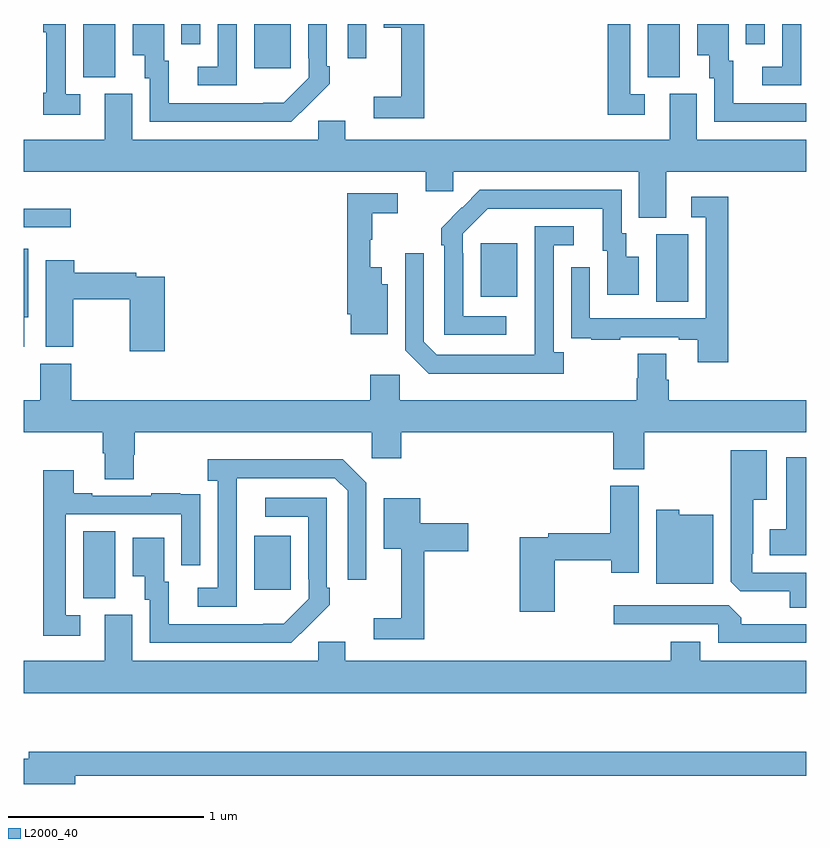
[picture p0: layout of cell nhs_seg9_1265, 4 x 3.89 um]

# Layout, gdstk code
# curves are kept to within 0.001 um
import gdstk
lib = gdstk.Library(unit=1e-6, precision=1e-09)
def R(c, l, rs):  # rectangles x0, y0, x1, y1
    for r in rs: c.add(gdstk.rectangle(r[:2], r[2:], *l))
def P(c, l, *ps):  # polygons
    for p in ps: c.add(gdstk.Polygon(p, *l))
L2000_40 = (2000, 40)

nhs_seg9_1265 = lib.new_cell('nhs_seg9_1265')
R(nhs_seg9_1265, L2000_40, [(181.304,1203.565,181.468,1203.908), (182.177,1203.609,182.365,1203.883), (184.232,1205.08,184.396,1205.424), (183.335,1205.105,183.523,1205.38), (181,1205.46,181.24,1205.556), (181.304,1206.229,181.468,1206.5), (184.19,1206.229,184.354,1206.5), (182.177,1206.273,182.365,1206.5), (182.655,1206.324,182.751,1206.5), (181.806,1206.396,181.902,1206.5), (184.692,1206.396,184.788,1206.5)])
P(nhs_seg9_1265, L2000_40, [(185,1206.096),(184.627,1206.096),(184.627,1206.312),(184.603,1206.312),(184.603,1206.5),(184.442,1206.5),(184.442,1206.341),(184.505,1206.341),(184.505,1206.222),(184.53,1206.222),(184.53,1206),(185,1206)],
  [(181.288,1206.141),(181.215,1206.141),(181.215,1206.5),(181.099,1206.5),(181.099,1206.459),(181.114,1206.459),(181.114,1206.148),(181.099,1206.148),(181.099,1206.036),(181.288,1206.036)],
  [(183.047,1206.5),(182.84,1206.5),(182.84,1206.482),(182.93,1206.482),(182.93,1206.127),(182.79,1206.127),(182.79,1206.018),(183.047,1206.018)],
  [(184.974,1206.5),(184.878,1206.5),(184.878,1206.282),(184.776,1206.282),(184.776,1206.186),(184.974,1206.186)],
  [(182.459,1206.091),(182.46,1206.09),(182.565,1206.195),(182.565,1206.283),(182.55,1206.283),(182.55,1206.5),(182.454,1206.5),(182.454,1206.325),(182.457,1206.325),(182.457,1206.225),(182.329,1206.097),(182.225,1206.096),(181.741,1206.096),(181.741,1206.312),(181.717,1206.312),(181.717,1206.5),(181.556,1206.5),(181.556,1206.341),(181.619,1206.341),(181.619,1206.222),(181.644,1206.222),(181.644,1206),(182.368,1206)],
  [(182.088,1206.5),(181.992,1206.5),(181.992,1206.282),(181.89,1206.282),(181.89,1206.186),(182.088,1206.186)],
  [(184.174,1206.141),(184.101,1206.141),(184.101,1206.5),(183.985,1206.5),(183.985,1206.036),(184.174,1206.036)],
  [(184.285,1205.744),(185,1205.744),(185,1205.908),(184.441,1205.908),(184.441,1206.144),(184.301,1206.144),(184.301,1205.908),(182.644,1205.908),(182.644,1206.006),(182.505,1206.006),(182.505,1205.908),(181.555,1205.908),(181.555,1206.144),(181.415,1206.144),(181.415,1205.908),(181,1205.908),(181,1205.744),(183.056,1205.744),(183.056,1205.646),(183.195,1205.646),(183.195,1205.744),(184.145,1205.744),(184.145,1205.509),(184.285,1205.509)],
  [(183.466,1205.007),(183.246,1205.007),(183.246,1205.327),(183.243,1205.327),(183.243,1205.427),(183.372,1205.556),(183.959,1205.556),(183.959,1205.34),(183.983,1205.34),(183.983,1205.115),(184.144,1205.115),(184.144,1205.311),(184.081,1205.311),(184.081,1205.43),(184.056,1205.43),(184.056,1205.652),(183.332,1205.652),(183.135,1205.457),(183.135,1205.369),(183.15,1205.369),(183.15,1204.911),(183.466,1204.911)],
  [(182.86,1205.17),(182.83,1205.17),(182.83,1205.257),(182.771,1205.257),(182.771,1205.397),(182.782,1205.397),(182.782,1205.533),(182.911,1205.533),(182.911,1205.634),(182.653,1205.634),(182.653,1205.017),(182.672,1205.017),(182.672,1204.913),(182.86,1204.913)],
  [(184.601,1205.617),(184.413,1205.617),(184.413,1205.511),(184.485,1205.511),(184.485,1204.995),(183.894,1204.995),(183.894,1205.257),(183.798,1205.257),(183.798,1205.002),(183.799,1205.002),(183.799,1204.893),(183.901,1204.893),(183.901,1204.887),(184.049,1204.887),(184.049,1204.899),(184.349,1204.899),(184.349,1204.887),(184.445,1204.887),(184.445,1204.77),(184.601,1204.77)],
  [(183.76,1204.822),(183.708,1204.822),(183.708,1205.37),(183.811,1205.37),(183.811,1205.466),(183.612,1205.466),(183.611,1204.809),(183.111,1204.809),(183.045,1204.875),(183.045,1205.329),(182.949,1205.329),(182.949,1204.833),(183.07,1204.712),(183.76,1204.712)],
  [(181.003,1205.001),(181.024,1205.001),(181.024,1205.35),(181,1205.35),(181,1204.851),(181.003,1204.851)],
  [(181.721,1205.208),(181.574,1205.208),(181.574,1205.228),(181.259,1205.228),(181.259,1205.293),(181.112,1205.293),(181.112,1204.849),(181.254,1204.849),(181.254,1205.092),(181.543,1205.092),(181.543,1204.827),(181.721,1204.827)],
  [(181.563,1204.299),(181.568,1204.299),(181.568,1204.412),(182.778,1204.412),(182.778,1204.281),(182.93,1204.281),(182.93,1204.412),(184.013,1204.412),(184.013,1204.225),(184.173,1204.225),(184.173,1204.412),(185,1204.412),(185,1204.576),(184.298,1204.576),(184.298,1204.682),(184.285,1204.682),(184.285,1204.814),(184.138,1204.814),(184.138,1204.689),(184.133,1204.689),(184.133,1204.576),(182.922,1204.576),(182.922,1204.708),(182.771,1204.708),(182.771,1204.576),(181.244,1204.576),(181.244,1204.764),(181.084,1204.764),(181.084,1204.576),(181,1204.576),(181,1204.412),(181.403,1204.412),(181.403,1204.306),(181.415,1204.306),(181.415,1204.174),(181.563,1204.174)],
  [(185,1203.696),(184.725,1203.696),(184.725,1203.793),(184.729,1203.793),(184.729,1204.067),(184.798,1204.067),(184.798,1204.321),(184.613,1204.321),(184.613,1203.649),(184.662,1203.6),(184.916,1203.6),(184.916,1203.517),(185,1203.517)],
  [(185,1204.285),(184.898,1204.285),(184.898,1203.916),(184.814,1203.916),(184.814,1203.785),(185,1203.785)],
  [(182.088,1203.979),(182.089,1204.179),(182.589,1204.179),(182.655,1204.113),(182.655,1203.66),(182.751,1203.66),(182.751,1204.155),(182.63,1204.276),(181.941,1204.276),(181.941,1204.166),(181.992,1204.166),(181.992,1203.618),(181.89,1203.618),(181.89,1203.522),(182.088,1203.522)],
  [(181.288,1203.477),(181.215,1203.477),(181.215,1203.993),(181.806,1203.993),(181.806,1203.732),(181.902,1203.732),(181.902,1203.986),(181.901,1203.986),(181.901,1204.095),(181.799,1204.095),(181.799,1204.102),(181.651,1204.102),(181.651,1204.089),(181.351,1204.089),(181.351,1204.102),(181.255,1204.102),(181.255,1204.219),(181.099,1204.219),(181.099,1203.372),(181.288,1203.372)],
  [(183.714,1203.76),(184.003,1203.76),(184.003,1203.696),(184.144,1203.696),(184.144,1204.14),(183.998,1204.14),(183.998,1203.896),(183.682,1203.896),(183.682,1203.876),(183.536,1203.876),(183.536,1203.495),(183.714,1203.495)],
  [(182.459,1203.427),(182.46,1203.426),(182.565,1203.531),(182.565,1203.619),(182.55,1203.619),(182.55,1204.077),(182.235,1204.077),(182.235,1203.981),(182.454,1203.981),(182.454,1203.661),(182.457,1203.661),(182.457,1203.561),(182.329,1203.433),(181.741,1203.432),(181.741,1203.648),(181.717,1203.648),(181.717,1203.874),(181.556,1203.874),(181.556,1203.677),(181.619,1203.677),(181.619,1203.558),(181.644,1203.558),(181.644,1203.336),(182.368,1203.336)],
  [(183.047,1203.806),(183.271,1203.806),(183.271,1203.948),(183.028,1203.948),(183.028,1204.075),(182.84,1204.075),(182.84,1203.818),(182.93,1203.818),(182.93,1203.463),(182.79,1203.463),(182.79,1203.354),(183.047,1203.354)],
  [(184.525,1203.991),(184.35,1203.991),(184.35,1204.018),(184.232,1204.018),(184.232,1203.638),(184.525,1203.638)],
  [(185,1203.432),(184.667,1203.432),(184.667,1203.466),(184.605,1203.528),(184.017,1203.528),(184.017,1203.432),(184.551,1203.432),(184.551,1203.336),(185,1203.336)],
  [(185,1203.244),(184.459,1203.244),(184.459,1203.343),(184.307,1203.343),(184.307,1203.244),(182.644,1203.244),(182.644,1203.342),(182.505,1203.342),(182.505,1203.244),(181.555,1203.244),(181.555,1203.48),(181.415,1203.48),(181.415,1203.244),(181,1203.244),(181,1203.08),(185,1203.08)],
  [(181.264,1202.658),(185,1202.658),(185,1202.779),(181.025,1202.779),(181.025,1202.745),(181,1202.745),(181,1202.615),(181.264,1202.615)])

lib.write_gds('nhs_seg9_1265.gds')
